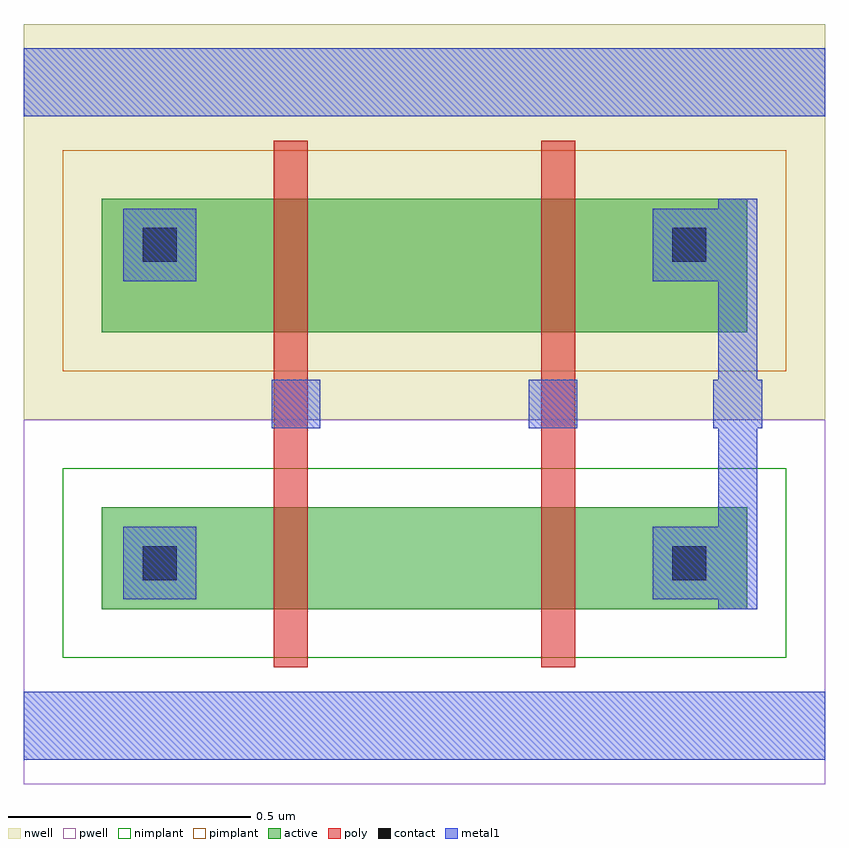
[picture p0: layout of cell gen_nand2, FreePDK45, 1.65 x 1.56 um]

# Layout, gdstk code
import gdstk
lib = gdstk.Library(unit=1e-6, precision=5e-10)
def R(c, l, rs):  # rectangles x0, y0, x1, y1
    for r in rs: c.add(gdstk.rectangle(r[:2], r[2:], *l))
active = (1, 0)
pwell = (2, 0)
nwell = (3, 0)
nimplant = (4, 0)
pimplant = (5, 0)
poly = (9, 0)
contact = (10, 0)
metal1 = (11, 0)

gen_nand2 = lib.new_cell('gen_nand2')
R(gen_nand2, active, [(0.16,0.36,1.49,0.57), (0.16,0.93,1.49,1.205)])
R(gen_nand2, pwell, [(0,0,1.65,0.75)])
R(gen_nand2, nwell, [(0,0.75,1.65,1.565)])
R(gen_nand2, nimplant, [(0.08,0.26,1.57,0.65)])
R(gen_nand2, pimplant, [(0.08,0.85,1.57,1.305)])
R(gen_nand2, poly, [(0.515,0.24,0.585,1.325), (1.065,0.24,1.135,1.325)])
R(gen_nand2, contact, [(0.245,0.42,0.315,0.49), (1.335,0.42,1.405,0.49), (0.245,1.075,0.315,1.145), (1.335,1.075,1.405,1.145)])
R(gen_nand2, metal1, [(0,0.05,1.65,0.19), (0.775,0.07,0.875,0.17), (1.43,0.36,1.51,1.205), (0.205,0.38,0.355,0.53), (1.295,0.38,1.445,0.53), (0.51,0.7325,0.61,0.8325), (1.04,0.7325,1.14,0.8325), (1.42,0.7325,1.52,0.8325), (0.205,1.035,0.355,1.185), (1.295,1.035,1.445,1.185), (0,1.375,1.65,1.515), (0.775,1.395,0.875,1.495)])

lib.write_gds('gen_nand2.gds')
